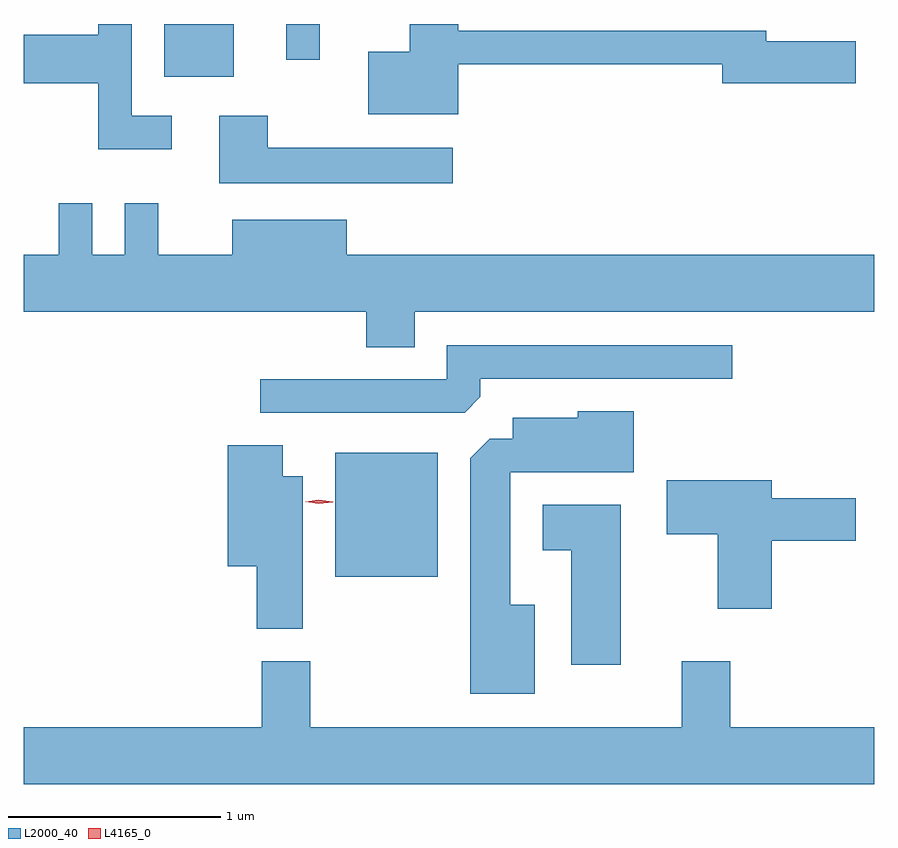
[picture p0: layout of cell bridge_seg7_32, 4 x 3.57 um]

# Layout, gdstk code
import gdstk
lib = gdstk.Library(unit=1e-6, precision=1e-09)
def R(c, l, rs):  # rectangles x0, y0, x1, y1
    for r in rs: c.add(gdstk.rectangle(r[:2], r[2:], *l))
def P(c, l, *ps):  # polygons
    for p in ps: c.add(gdstk.Polygon(p, *l))
L2000_40 = (2000, 40)
L4165_0 = (4165, 0)

bridge_seg7_32 = lib.new_cell('bridge_seg7_32')
R(bridge_seg7_32, L2000_40, [(1742.286,1755.251,1742.769,1755.834), (1741.481,1757.601,1741.809,1757.85), (1742.056,1757.683,1742.214,1757.85)])
P(bridge_seg7_32, L2000_40, [(1741.518,1757.419),(1741.329,1757.419),(1741.329,1757.85),(1741.171,1757.85),(1741.171,1757.799),(1740.821,1757.799),(1740.821,1757.571),(1741.171,1757.571),(1741.171,1757.261),(1741.518,1757.261)],
  [(1742.864,1757.661),(1744.106,1757.661),(1744.106,1757.571),(1744.734,1757.571),(1744.734,1757.769),(1744.314,1757.769),(1744.314,1757.819),(1742.864,1757.819),(1742.864,1757.85),(1742.636,1757.85),(1742.636,1757.719),(1742.441,1757.719),(1742.441,1757.426),(1742.864,1757.426)],
  [(1742.838,1757.269),(1741.969,1757.269),(1741.969,1757.419),(1741.741,1757.419),(1741.741,1757.101),(1742.838,1757.101)],
  [(1742.659,1756.496),(1744.821,1756.496),(1744.821,1756.764),(1742.339,1756.764),(1742.339,1756.929),(1741.801,1756.929),(1741.801,1756.764),(1741.454,1756.764),(1741.454,1757.008),(1741.296,1757.008),(1741.296,1756.764),(1741.144,1756.764),(1741.144,1757.008),(1740.986,1757.008),(1740.986,1756.764),(1740.821,1756.764),(1740.821,1756.496),(1742.431,1756.496),(1742.431,1756.331),(1742.659,1756.331)],
  [(1742.969,1756.097),(1742.969,1756.181),(1744.153,1756.181),(1744.153,1756.339),(1742.811,1756.339),(1742.811,1756.179),(1741.933,1756.179),(1741.933,1756.021),(1742.894,1756.021)],
  [(1743.224,1755.119),(1743.109,1755.119),(1743.109,1755.741),(1743.689,1755.741),(1743.689,1756.029),(1743.426,1756.029),(1743.426,1755.999),(1743.121,1755.999),(1743.121,1755.899),(1743.012,1755.899),(1742.921,1755.809),(1742.921,1754.701),(1743.224,1754.701)],
  [(1742.134,1755.724),(1742.039,1755.724),(1742.039,1755.869),(1741.781,1755.869),(1741.781,1755.301),(1741.916,1755.301),(1741.916,1755.006),(1742.134,1755.006)],
  [(1744.339,1755.421),(1744.734,1755.421),(1744.734,1755.619),(1744.339,1755.619),(1744.339,1755.704),(1743.846,1755.704),(1743.846,1755.451),(1744.086,1755.451),(1744.086,1755.101),(1744.339,1755.101)],
  [(1743.629,1755.589),(1743.261,1755.589),(1743.261,1755.376),(1743.396,1755.376),(1743.396,1754.836),(1743.629,1754.836)],
  [(1744.821,1754.544),(1744.144,1754.544),(1744.144,1754.854),(1743.916,1754.854),(1743.916,1754.544),(1742.169,1754.544),(1742.169,1754.854),(1741.941,1754.854),(1741.941,1754.544),(1740.821,1754.544),(1740.821,1754.276),(1744.821,1754.276)])
P(bridge_seg7_32, L4165_0, [(1742.209,1755.593),(1742.144,1755.603),(1742.143,1755.603),(1742.144,1755.604),(1742.209,1755.613),(1742.275,1755.603),(1742.276,1755.603),(1742.275,1755.602)])

lib.write_gds('bridge_seg7_32.gds')
